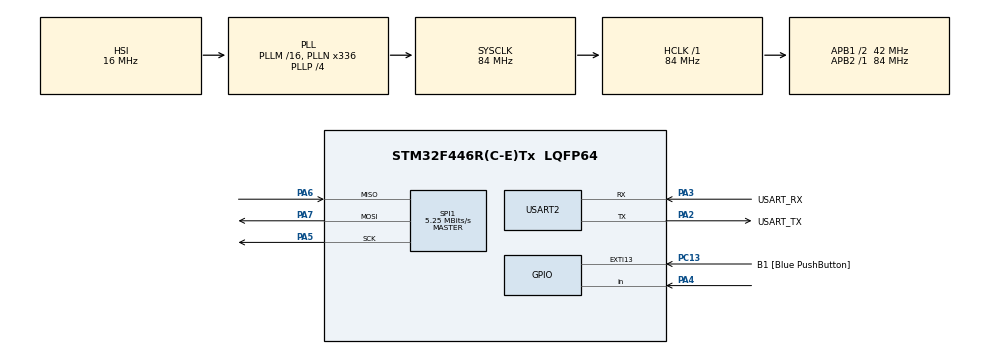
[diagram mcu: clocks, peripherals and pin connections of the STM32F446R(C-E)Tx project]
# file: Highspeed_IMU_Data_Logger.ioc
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Mcu.Family=STM32F4
Mcu.Name=STM32F446R(C-E)Tx
Mcu.Package=LQFP64
NVIC.PriorityGroup=NVIC_PRIORITYGROUP_0
PA13.GPIO_Label=TMS
PA13.Mode=Serial_Wire
PA13.Signal=SYS_JTMS-SWDIO
PA14.GPIO_Label=TCK
PA14.Mode=Serial_Wire
PA14.Signal=SYS_JTCK-SWCLK
PA2.GPIO_Label=USART_TX
PA2.Mode=Asynchronous
PA2.Signal=USART2_TX
PA3.GPIO_Label=USART_RX
PA3.Mode=Asynchronous
PA3.Signal=USART2_RX
PA4.Signal=GPIO_Input
PA5.Mode=Full_Duplex_Master
PA5.Signal=SPI1_SCK
PA6.Mode=Full_Duplex_Master
PA6.Signal=SPI1_MISO
PA7.Mode=Full_Duplex_Master
PA7.Signal=SPI1_MOSI
PB3.GPIO_Label=SWO
PB3.Signal=SYS_JTDO-SWO
PC13.GPIO_Label=B1 [Blue PushButton]
PC13.GPIO_ModeDefaultEXTI=GPIO_MODE_IT_FALLING
PC13.Signal=GPXTI13
PC14-OSC32_IN.Mode=LSE-External-Oscillator
PC14-OSC32_IN.Signal=RCC_OSC32_IN
PC15-OSC32_OUT.Mode=LSE-External-Oscillator
PC15-OSC32_OUT.Signal=RCC_OSC32_OUT
PH0-OSC_IN.Mode=HSE-External-Oscillator
PH0-OSC_IN.Signal=RCC_OSC_IN
PH1-OSC_OUT.Mode=HSE-External-Oscillator
PH1-OSC_OUT.Signal=RCC_OSC_OUT
ProjectManager.HeapSize=0x200
ProjectManager.StackSize=0x400
ProjectManager.TargetToolchain=STM32CubeIDE
RCC.48MHZClocksFreq_Value=84000000
RCC.AHBFreq_Value=84000000
RCC.APB1CLKDivider=RCC_HCLK_DIV2
RCC.APB1Freq_Value=42000000
RCC.APB1TimFreq_Value=84000000
RCC.APB2Freq_Value=84000000
RCC.APB2TimFreq_Value=84000000
RCC.CortexFreq_Value=84000000
RCC.FLatency-AdvancedSettings=FLASH_LATENCY_2
RCC.HCLKFreq_Value=84000000
RCC.HSE_VALUE=8000000
RCC.HSI_VALUE=16000000
RCC.PLLN=336
RCC.PLLP=RCC_PLLP_DIV4
RCC.SYSCLKFreq_VALUE=84000000
RCC.SYSCLKSource=RCC_SYSCLKSOURCE_PLLCLK
RCC.USBFreq_Value=168000000
RCC.VCOOutputFreq_Value=336000000
RTC.Format=RTC_FORMAT_BIN
SPI1.BaudRatePrescaler=SPI_BAUDRATEPRESCALER_16
SPI1.CalculateBaudRate=5.25 MBits/s
SPI1.Direction=SPI_DIRECTION_2LINES
SPI1.Mode=SPI_MODE_MASTER
SPI1.VirtualType=VM_MASTER
USART2.VirtualMode=VM_ASYNC
VP_RTC_VS_RTC_Activate.Mode=RTC_Enabled
VP_RTC_VS_RTC_Calendar.Mode=RTC_Calendar
board=NUCLEO-F446RE

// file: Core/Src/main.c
/* USER CODE BEGIN Header */
/**
  ******************************************************************************
  * @file           : main.c
  * @brief          : Main program body
  ******************************************************************************
  * @attention
  *
  * Copyright (c) 2026 STMicroelectronics.
  * All rights reserved.
  *
  * This software is licensed under terms that can be found in the LICENSE file
  * in the root directory of this software component.
  * If no LICENSE file comes with this software, it is provided AS-IS.
  *
  ******************************************************************************
  */
/* USER CODE END Header */
#include "main.h"

/* USER CODE BEGIN Includes */

#include<string.h>
#include<stdio.h>

#define WHO_AM_I_REG 0x75
#define PWR_MGMT_1_REG 0x6B
#define GYRO_CONFIG 0x1B
#define GYRO_XOUT_H_REG 0x3B
#define ACCEL_CONFIG 0x1C
#define ACCEL_CONFIG_2 0x1D
#define CONFIG 0x1A
#define MPU_BURST_LEN 17
#define USER_CTRL 0X6A
#define SMPLRT_DIV 0x19
#define  INTERRUPT_STATUS 0X3A

RTC_TimeTypeDef sTime;
RTC_DateTypeDef sDate;

// Gyroscope raw and processed data

float Gx, Gy, Gz;
float Ax , Ay , Az;
float Temp;
char buffer[100];
uint8_t circ_buf[1000][MPU_BURST_LEN];
volatile uint16_t write_idx = 0; // incremented by SPI DMA ISR
volatile uint16_t read_idx = 0; // incremented by UART transmission
volatile uint16_t rtctime;

/* USER CODE END Includes */

RTC_HandleTypeDef hrtc;

SPI_HandleTypeDef hspi1;

UART_HandleTypeDef huart2;

void SystemClock_Config(void);
static void MX_GPIO_Init(void);
static void MX_USART2_UART_Init(void);
static void MX_SPI1_Init(void);
static void MX_RTC_Init(void);

/* USER CODE BEGIN 0 */

void MPU_Select()
{
HAL_GPIO_WritePin(GPIOA,GPIO_PIN_4, GPIO_PIN_RESET);
}

void MPU_Deselect()
{
HAL_GPIO_WritePin(GPIOA,GPIO_PIN_4, GPIO_PIN_SET);
}

uint8_t ReadByte(uint8_t reg)
{
    uint8_t tx[2];
    uint8_t rx[2];

    tx[0] = reg | 0x80;
    tx[1] = 0x00;

    MPU_Select();
    HAL_SPI_TransmitReceive(&hspi1, tx, rx, 2, HAL_MAX_DELAY);
    MPU_Deselect();

    return rx[1];
}

void SPI_WriteReg(uint8_t reg, uint8_t data)
{

uint8_t txData[2]= {reg & 0x7F , data};

MPU_Select();
HAL_SPI_Transmit(&hspi1, txData , 2 , HAL_MAX_DELAY);
MPU_Deselect();

}

void MPU9250_Init(void)
{
	SPI_WriteReg(PWR_MGMT_1_REG, 0x80);
	HAL_Delay(100);
	SPI_WriteReg(PWR_MGMT_1_REG, 0x01);
	HAL_Delay(10);
    HAL_Delay(100);
    SPI_WriteReg(USER_CTRL, 0x10);
    HAL_Delay(100);
    SPI_WriteReg(ACCEL_CONFIG, 0x18);
    HAL_Delay(100);
    SPI_WriteReg(ACCEL_CONFIG_2, 0x03);
    HAL_Delay(100);
    SPI_WriteReg(CONFIG, 0x03);
    HAL_Delay(100);
    SPI_WriteReg(GYRO_CONFIG, 0x18);
    HAL_Delay(100);
    SPI_WriteReg(SMPLRT_DIV, 0);
    HAL_Delay(100);

}

void readGyroData()
{

    uint8_t ready = 0 ;
    uint8_t reg = INTERRUPT_STATUS |0X80;
    MPU_Select();
    HAL_SPI_Transmit(&hspi1, &reg, 1, HAL_MAX_DELAY);
    HAL_SPI_Receive(&hspi1,&ready,1, HAL_MAX_DELAY);
    MPU_Deselect();
    circ_buf[write_idx][16]= ready;
    if ((ready & 0x01) == 0)
    	return;
    ready =0;
    uint8_t rawData[14];
    reg = GYRO_XOUT_H_REG | 0x80;  // Read command
    MPU_Select();
    HAL_SPI_Transmit(&hspi1, &reg, 1, HAL_MAX_DELAY);
    HAL_SPI_Receive(&hspi1, rawData, 14, HAL_MAX_DELAY);
    MPU_Deselect();

	HAL_RTC_GetTime(&hrtc, &sTime, RTC_FORMAT_BIN);
	HAL_RTC_GetDate(&hrtc, &sDate, RTC_FORMAT_BIN);

    for(int i=0; i<=13; i++)
    {
    	circ_buf[write_idx][i] = rawData[i];
	}
    circ_buf[write_idx][14]=sTime.Minutes;
    circ_buf[write_idx][15]=sTime.Seconds;
    write_idx = (write_idx + 1) % 1000;

}

void sendGyroData_UART(void)
{
    int16_t gx, gy, gz , ax , ay, az;
    char msg[50];

    if (read_idx != write_idx)
    {
        ax = (int16_t)((circ_buf[read_idx][0] << 8) | circ_buf[read_idx][1]);
        ay = (int16_t)((circ_buf[read_idx][2] << 8) | circ_buf[read_idx][3]);
        az = (int16_t)((circ_buf[read_idx][4] << 8) | circ_buf[read_idx][5]);
        gx = (int16_t)((circ_buf[read_idx][8] << 8) | circ_buf[read_idx][9]);
        gy = (int16_t)((circ_buf[read_idx][10] << 8) | circ_buf[read_idx][11]);
        gz = (int16_t)((circ_buf[read_idx][12] << 8) | circ_buf[read_idx][13]);
        rtctime= (int16_t)((circ_buf[read_idx][14] << 8) | circ_buf[read_idx][15]);
        sprintf(msg, "%d,%d,%d,%d,%d,%d,%d,%d\r\n",ax , ay , az, gx, gy, gz,circ_buf[read_idx][15],circ_buf[read_idx][16]);

        HAL_UART_Transmit(&huart2,(uint8_t *)msg,strlen(msg),HAL_MAX_DELAY);

        read_idx = (read_idx + 1) % 1000;
    }
}

/* USER CODE END 0 */

int main(void)
{

  /* MCU Configuration--------------------------------------------------------*/

  /* Reset of all peripherals, Initializes the Flash interface and the Systick. */
  HAL_Init();

  /* Configure the system clock */
  SystemClock_Config();

  /* Initialize all configured peripherals */
  MX_GPIO_Init();
  MX_USART2_UART_Init();
  MX_SPI1_Init();
  MX_RTC_Init();
  /* USER CODE BEGIN 2 */

   MPU9250_Init();
   HAL_Delay(200);
   /* USER CODE END 2 */

  /* Infinite loop */
  while (1)
  {

    /* USER CODE BEGIN 3 */

	  readGyroData();
	  sendGyroData_UART();

  }
  /* USER CODE END 3 */
}

void SystemClock_Config(void)
{
  RCC_OscInitTypeDef RCC_OscInitStruct = {0};
  RCC_ClkInitTypeDef RCC_ClkInitStruct = {0};

  /** Configure the main internal regulator output voltage
  */
  __HAL_RCC_PWR_CLK_ENABLE();
  __HAL_PWR_VOLTAGESCALING_CONFIG(PWR_REGULATOR_VOLTAGE_SCALE3);

  /** Initializes the RCC Oscillators according to the specified parameters
  * in the RCC_OscInitTypeDef structure.
  */
  RCC_OscInitStruct.OscillatorType = RCC_OSCILLATORTYPE_HSI|RCC_OSCILLATORTYPE_LSI;
  RCC_OscInitStruct.LSEState = RCC_LSE_ON;
  RCC_OscInitStruct.HSIState = RCC_HSI_ON;
  RCC_OscInitStruct.HSICalibrationValue = RCC_HSICALIBRATION_DEFAULT;
  RCC_OscInitStruct.LSIState = RCC_LSI_ON;
  RCC_OscInitStruct.PLL.PLLState = RCC_PLL_ON;
  RCC_OscInitStruct.PLL.PLLSource = RCC_PLLSOURCE_HSI;
  RCC_OscInitStruct.PLL.PLLM = 16;
  RCC_OscInitStruct.PLL.PLLN = 336;
  RCC_OscInitStruct.PLL.PLLP = RCC_PLLP_DIV4;
  RCC_OscInitStruct.PLL.PLLQ = 2;
  RCC_OscInitStruct.PLL.PLLR = 2;
  if (HAL_RCC_OscConfig(&RCC_OscInitStruct) != HAL_OK)
  {
    Error_Handler();
  }

  /** Initializes the CPU, AHB and APB buses clocks
  */
  RCC_ClkInitStruct.ClockType = RCC_CLOCKTYPE_HCLK|RCC_CLOCKTYPE_SYSCLK
                              |RCC_CLOCKTYPE_PCLK1|RCC_CLOCKTYPE_PCLK2;
  RCC_ClkInitStruct.SYSCLKSource = RCC_SYSCLKSOURCE_PLLCLK;
  RCC_ClkInitStruct.AHBCLKDivider = RCC_SYSCLK_DIV1;
  RCC_ClkInitStruct.APB1CLKDivider = RCC_HCLK_DIV2;
  RCC_ClkInitStruct.APB2CLKDivider = RCC_HCLK_DIV1;

  if (HAL_RCC_ClockConfig(&RCC_ClkInitStruct, FLASH_LATENCY_2) != HAL_OK)
  {
    Error_Handler();
  }
}

static void MX_RTC_Init(void)
{

  RTC_TimeTypeDef sTime = {0};
  RTC_DateTypeDef sDate = {0};

  /** Initialize RTC Only
  */
  hrtc.Instance = RTC;
  hrtc.Init.HourFormat = RTC_HOURFORMAT_24;
  hrtc.Init.AsynchPrediv = 127;
  hrtc.Init.SynchPrediv = 255;
  hrtc.Init.OutPut = RTC_OUTPUT_DISABLE;
  hrtc.Init.OutPutPolarity = RTC_OUTPUT_POLARITY_HIGH;
  hrtc.Init.OutPutType = RTC_OUTPUT_TYPE_OPENDRAIN;
  if (HAL_RTC_Init(&hrtc) != HAL_OK)
  {
    Error_Handler();
  }

  /** Initialize RTC and set the Time and Date
  */
  sTime.Hours = 5;
  sTime.Minutes = 23;
  sTime.Seconds = 50;
  sTime.DayLightSaving = RTC_DAYLIGHTSAVING_NONE;
  sTime.StoreOperation = RTC_STOREOPERATION_RESET;
  if (HAL_RTC_SetTime(&hrtc, &sTime, RTC_FORMAT_BIN) != HAL_OK)
  {
    Error_Handler();
  }
  sDate.WeekDay = RTC_WEEKDAY_MONDAY;
  sDate.Month = RTC_MONTH_JANUARY;
  sDate.Date = 1;
  sDate.Year = 0;

  if (HAL_RTC_SetDate(&hrtc, &sDate, RTC_FORMAT_BIN) != HAL_OK)
  {
    Error_Handler();
  }

}

static void MX_SPI1_Init(void)
{

  /* SPI1 parameter configuration*/
  hspi1.Instance = SPI1;
  hspi1.Init.Mode = SPI_MODE_MASTER;
  hspi1.Init.Direction = SPI_DIRECTION_2LINES;
  hspi1.Init.DataSize = SPI_DATASIZE_8BIT;
  hspi1.Init.CLKPolarity = SPI_POLARITY_LOW;
  hspi1.Init.CLKPhase = SPI_PHASE_1EDGE;
  hspi1.Init.NSS = SPI_NSS_SOFT;
  hspi1.Init.BaudRatePrescaler = SPI_BAUDRATEPRESCALER_16;
  hspi1.Init.FirstBit = SPI_FIRSTBIT_MSB;
  hspi1.Init.TIMode = SPI_TIMODE_DISABLE;
  hspi1.Init.CRCCalculation = SPI_CRCCALCULATION_DISABLE;
  hspi1.Init.CRCPolynomial = 10;
  if (HAL_SPI_Init(&hspi1) != HAL_OK)
  {
    Error_Handler();
  }

}

static void MX_USART2_UART_Init(void)
{

  huart2.Instance = USART2;
  huart2.Init.BaudRate = 921600 ;
  huart2.Init.WordLength = UART_WORDLENGTH_8B;
  huart2.Init.StopBits = UART_STOPBITS_1;
  huart2.Init.Parity = UART_PARITY_NONE;
  huart2.Init.Mode = UART_MODE_TX_RX;
  huart2.Init.HwFlowCtl = UART_HWCONTROL_NONE;
  huart2.Init.OverSampling = UART_OVERSAMPLING_16;
  if (HAL_UART_Init(&huart2) != HAL_OK)
  {
    Error_Handler();
  }

}

static void MX_GPIO_Init(void)
{
  GPIO_InitTypeDef GPIO_InitStruct = {0};

  /* GPIO Ports Clock Enable */
  __HAL_RCC_GPIOC_CLK_ENABLE();
  __HAL_RCC_GPIOH_CLK_ENABLE();
  __HAL_RCC_GPIOA_CLK_ENABLE();
  __HAL_RCC_GPIOB_CLK_ENABLE();

  /*Configure GPIO pin Output Level */
  HAL_GPIO_WritePin(GPIOA, GPIO_PIN_4, GPIO_PIN_RESET);

  /*Configure GPIO pin : B1_Pin */
  GPIO_InitStruct.Pin = B1_Pin;
  GPIO_InitStruct.Mode = GPIO_MODE_IT_FALLING;
  GPIO_InitStruct.Pull = GPIO_NOPULL;
  HAL_GPIO_Init(B1_GPIO_Port, &GPIO_InitStruct);

  /*Configure GPIO pin : PA4 */
  GPIO_InitStruct.Pin = GPIO_PIN_4;
  GPIO_InitStruct.Mode = GPIO_MODE_OUTPUT_PP;
  GPIO_InitStruct.Pull = GPIO_NOPULL;
  GPIO_InitStruct.Speed = GPIO_SPEED_FREQ_LOW;
  HAL_GPIO_Init(GPIOA, &GPIO_InitStruct);

}

void Error_Handler(void)
{
  __disable_irq();
  while (1)
  {
  }
}
